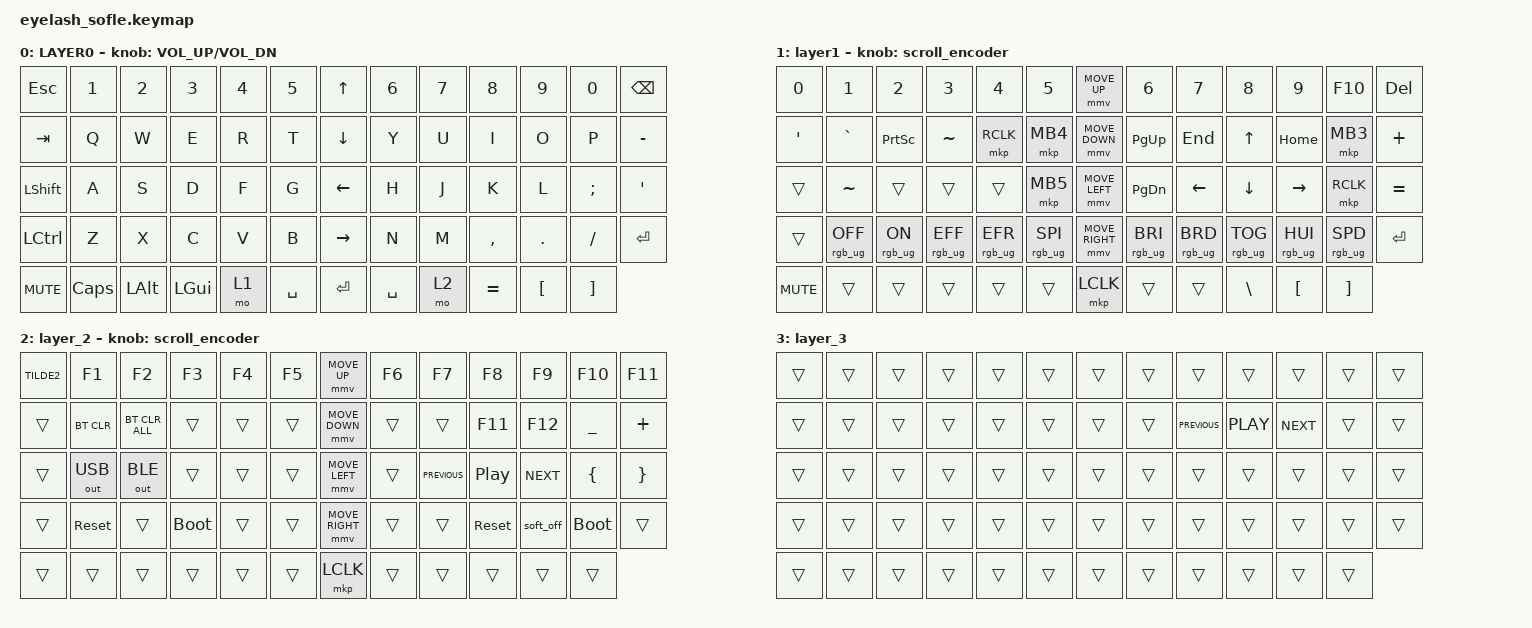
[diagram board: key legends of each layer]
#define ZMK_POINTING_DEFAULT_MOVE_VAL 1200  // 600
#define ZMK_POINTING_DEFAULT_SCRL_VAL 25   // 10

#include <input/processors.dtsi>
#include <zephyr/dt-bindings/input/input-event-codes.h>
#include <behaviors.dtsi>
#include <dt-bindings/zmk/bt.h>
#include <dt-bindings/zmk/keys.h>
#include <dt-bindings/zmk/outputs.h>
#include <dt-bindings/zmk/pointing.h>
#include <dt-bindings/zmk/rgb.h>

&mmv_input_listener { input-processors = <&zip_xy_scaler 2 1>; };

&msc_input_listener { input-processors = <&zip_scroll_scaler 2 1>; };

&msc {
    acceleration-exponent = <1>;      // 0
    time-to-max-speed-ms = <100>;       // 300
    delay-ms = <0>;                   // 0
};

&mmv {
    time-to-max-speed-ms = <500>;
    acceleration-exponent = <1>;
    trigger-period-ms = <16>;
};

/ {
    scroll_encoder: scroll_encoder {
        compatible = "zmk,behavior-sensor-rotate";
        #sensor-binding-cells = <0>;
        bindings = <&msc SCRL_DOWN>, <&msc SCRL_UP>;

        tap-ms = <100>;
    };

    behaviors {
    };

    keymap {
        compatible = "zmk,keymap";

        layer0 {
            bindings = <
&kp ESC     &kp N1        &kp N2        &kp N3        &kp N4  &kp N5       &kp UP_ARROW     &kp N6     &kp N7  &kp N8     &kp N9            &kp N0             &kp BACKSPACE
&kp TAB     &kp Q         &kp W         &kp E         &kp R   &kp T        &kp DOWN_ARROW   &kp Y      &kp U   &kp I      &kp O             &kp P              &kp MINUS
&kp LSHFT   &kp A         &kp S         &kp D         &kp F   &kp G        &kp LEFT_ARROW   &kp H      &kp J   &kp K      &kp L             &kp SEMI           &kp APOS
&kp LCTRL   &kp Z         &kp X         &kp C         &kp V   &kp B        &kp RIGHT_ARROW  &kp N      &kp M   &kp COMMA  &kp DOT           &kp FSLH           &kp ENTER
&kp C_MUTE  &kp CAPSLOCK  &kp LEFT_ALT  &kp LEFT_GUI  &mo 1   &kp SPACE    &kp ENTER        &kp SPACE  &mo 2   &kp EQUAL  &kp LEFT_BRACKET  &kp RIGHT_BRACKET
            >;

            sensor-bindings = <&inc_dec_kp C_VOLUME_UP C_VOL_DN>;
            display-name = "LAYER0";
        };

        layer_1 {
            bindings = <
&kp NUMBER_0       &kp NUMBER_1      &kp NUMBER_2     &kp NUMBER_3     &kp NUMBER_4     &kp NUMBER_5       &mmv MOVE_UP     &kp NUMBER_6     &kp NUMBER_7     &kp NUMBER_8     &kp NUMBER_9      &kp F10            &kp DELETE
&kp SINGLE_QUOTE  &kp GRAVE        &kp PRINTSCREEN  &kp TILDE        &mkp RCLK        &mkp MB4           &mmv MOVE_DOWN   &kp PG_UP        &kp END          &kp UP           &kp HOME          &mkp MB3           &kp PLUS
&trans            &kp TILDE        &trans           &trans           &trans           &mkp MB5           &mmv MOVE_LEFT   &kp PG_DN        &kp LEFT         &kp DOWN         &kp RIGHT         &mkp RCLK          &kp EQUAL
&trans            &rgb_ug RGB_OFF  &rgb_ug RGB_ON   &rgb_ug RGB_EFF  &rgb_ug RGB_EFR  &rgb_ug RGB_SPI    &mmv MOVE_RIGHT  &rgb_ug RGB_BRI  &rgb_ug RGB_BRD  &rgb_ug RGB_TOG  &rgb_ug RGB_HUI   &rgb_ug RGB_SPD    &kp RETURN
&kp C_MUTE        &trans           &trans           &trans           &trans           &trans             &mkp LCLK        &trans           &trans           &kp BACKSLASH    &kp LEFT_BRACKET  &kp RIGHT_BRACKET
            >;

            display-name = "layer1";
            sensor-bindings = <&scroll_encoder>;
        };

        layer_2 {
            bindings = <
&kp TILDE2  &kp F1        &kp F2          &kp F3       &kp F4  &kp F5    &mmv MOVE_UP     &kp F6  &kp F7          &kp F8      &kp F9      &kp F10      &kp F11
&trans      &bt BT_CLR    &bt BT_CLR_ALL  &trans       &trans  &trans    &mmv MOVE_DOWN   &trans  &trans          &kp F11     &kp F12     &kp UNDER    &kp PLUS
&trans      &out OUT_USB  &out OUT_BLE    &trans       &trans  &trans    &mmv MOVE_LEFT   &trans  &kp C_PREVIOUS  &kp C_PP    &kp C_NEXT  &kp LBRC     &kp RBRC
&trans      &sys_reset    &trans          &bootloader  &trans  &trans    &mmv MOVE_RIGHT  &trans  &trans          &sys_reset  &soft_off   &bootloader  &trans
&trans      &trans        &trans          &trans       &trans  &trans    &mkp LCLK        &trans  &trans          &trans      &trans      &trans
            >;

            sensor-bindings = <&scroll_encoder>;
        };

        layer_3 {
            bindings = <
&trans  &trans  &trans  &trans  &trans  &trans    &trans  &trans  &trans          &trans      &trans      &trans  &trans
&trans  &trans  &trans  &trans  &trans  &trans    &trans  &trans  &kp C_PREVIOUS  &kp C_PLAY  &kp C_NEXT  &trans  &trans
&trans  &trans  &trans  &trans  &trans  &trans    &trans  &trans  &trans          &trans      &trans      &trans  &trans
&trans  &trans  &trans  &trans  &trans  &trans    &trans  &trans  &trans          &trans      &trans      &trans  &trans
&trans  &trans  &trans  &trans  &trans  &trans    &trans  &trans  &trans          &trans      &trans      &trans
            >;
        };
    };
};
